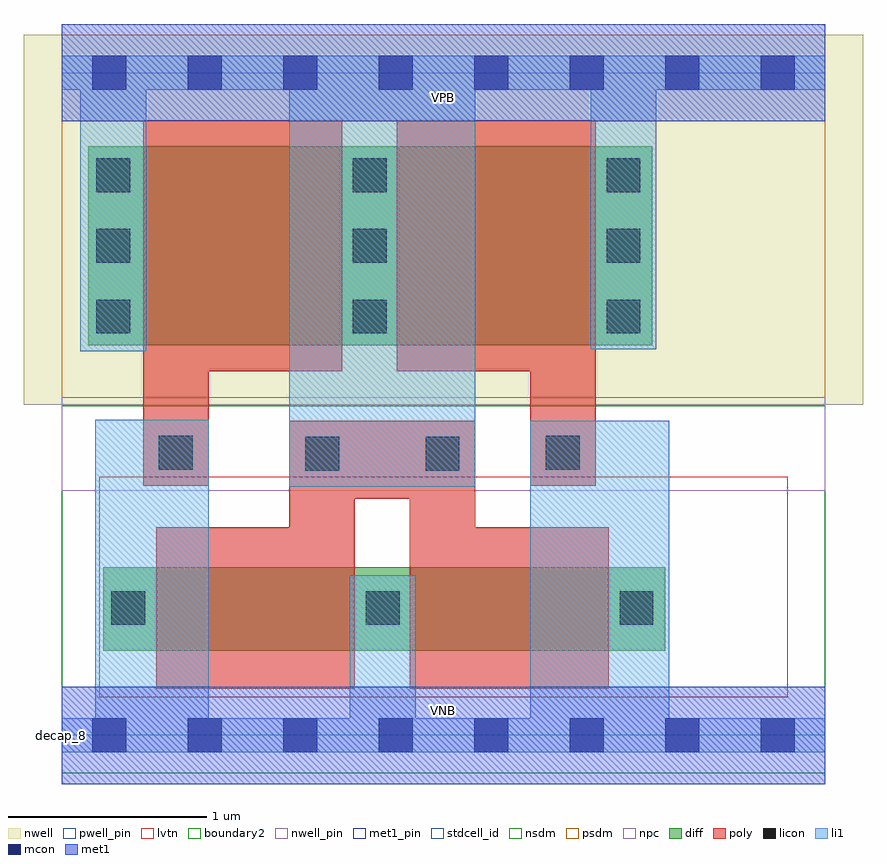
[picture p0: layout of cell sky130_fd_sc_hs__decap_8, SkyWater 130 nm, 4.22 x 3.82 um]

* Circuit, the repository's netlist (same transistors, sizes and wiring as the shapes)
* Copyright 2020 The SkyWater PDK Authors
*
* Licensed under the Apache License, Version 2.0 (the "License");
* you may not use this file except in compliance with the License.
* You may obtain a copy of the License at
*
*     https://www.apache.org/licenses/LICENSE-2.0
*
* Unless required by applicable law or agreed to in writing, software
* distributed under the License is distributed on an "AS IS" BASIS,
* WITHOUT WARRANTIES OR CONDITIONS OF ANY KIND, either express or implied.
* See the License for the specific language governing permissions and
* limitations under the License.
*
* SPDX-License-Identifier: Apache-2.0


.subckt sky130_fd_sc_hs__decap_8 VGND VNB VPB VPWR
X0 VPWR VGND VPWR VPB sky130_fd_pr__pfet_01v8 w=1 l=1
X1 VGND VPWR VGND VNB sky130_fd_pr__nfet_01v8_lvt w=420000u l=1
X2 VGND VPWR VGND VNB sky130_fd_pr__nfet_01v8_lvt w=420000u l=1
X3 VPWR VGND VPWR VPB sky130_fd_pr__pfet_01v8 w=1 l=1
.ends

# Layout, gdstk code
import gdstk
lib = gdstk.Library(unit=1e-6, precision=1e-09)
def R(c, l, rs):  # rectangles x0, y0, x1, y1
    for r in rs: c.add(gdstk.rectangle(r[:2], r[2:], *l))
def A(c, l, x, y, w, h, nx, ny, dx, dy):  # array of equal rectangles
    R(c, l, [(x+i*dx, y+j*dy, x+i*dx+w, y+j*dy+h) for i in range(nx) for j in range(ny)])
def P(c, l, *ps):  # polygons
    for p in ps: c.add(gdstk.Polygon(p, *l))
nwell_pin = (64, 16)
nwell = (64, 20)
diff = (65, 20)
poly = (66, 20)
licon = (66, 44)
li1 = (67, 20)
mcon = (67, 44)
met1_pin = (68, 16)
met1 = (68, 20)
stdcell_id = (81, 4)
nsdm = (93, 44)
psdm = (94, 20)
npc = (95, 20)
pwell_pin = (122, 16)
lvtn = (125, 44)
boundary2 = (236, 0)

sky130_fd_sc_hs__decap_8 = lib.new_cell('sky130_fd_sc_hs__decap_8')
R(sky130_fd_sc_hs__decap_8, nwell_pin, [(0,3.085,3.84,3.33)])
R(sky130_fd_sc_hs__decap_8, nwell, [(-0.19,1.66,4.03,3.52)])
R(sky130_fd_sc_hs__decap_8, diff, [(0.21,0.425,3.035,0.845), (0.135,1.96,2.97,2.96)])
P(sky130_fd_sc_hs__decap_8, poly, [(0.41,1.255),(0.41,3.09),(1.41,3.09),(1.41,1.83),(0.74,1.83),(0.74,1.255)],
  [(2.355,1.255),(2.355,1.83),(1.685,1.83),(1.685,3.09),(2.685,3.09),(2.685,1.255)],
  [(0.475,0.235),(0.475,1.045),(1.145,1.045),(1.145,1.58),(2.08,1.58),(2.08,1.045),(2.75,1.045),(2.75,0.235),(1.75,0.235),(1.75,1.19),(1.475,1.19),(1.475,0.235)])
A(sky130_fd_sc_hs__decap_8, licon, 0.175, 2.02, 0.17, 0.17, 1, 3, 0, 0.355)
A(sky130_fd_sc_hs__decap_8, licon, 1.465, 2.02, 0.17, 0.17, 1, 3, 0, 0.355)
A(sky130_fd_sc_hs__decap_8, licon, 2.74, 2.02, 0.17, 0.17, 1, 3, 0, 0.355)
R(sky130_fd_sc_hs__decap_8, licon, [(0.25,0.555,0.42,0.725), (1.53,0.555,1.7,0.725), (2.805,0.555,2.975,0.725), (1.225,1.33,1.395,1.5), (1.83,1.33,2,1.5), (0.49,1.335,0.66,1.505), (2.435,1.335,2.605,1.505)])
P(sky130_fd_sc_hs__decap_8, li1, [(0,-0.085),(0,0.085),(0.17,0.085),(0.17,1.585),(0.74,1.585),(0.74,0.085),(1.45,0.085),(1.45,0.805),(1.78,0.805),(1.78,0.085),(2.355,0.085),(2.355,1.58),(3.055,1.58),(3.055,0.085),(3.84,0.085),(3.84,-0.085)],
  [(1.145,1.25),(1.145,3.245),(0.425,3.245),(0.425,1.93),(0.095,1.93),(0.095,3.245),(0,3.245),(0,3.415),(3.84,3.415),(3.84,3.245),(2.99,3.245),(2.99,1.94),(2.66,1.94),(2.66,3.245),(2.08,3.245),(2.08,1.25)])
A(sky130_fd_sc_hs__decap_8, mcon, 0.155, -0.085, 0.17, 0.17, 8, 2, 0.48, 3.33)
R(sky130_fd_sc_hs__decap_8, met1_pin, [(0,-0.245,3.84,0.245), (0,3.085,3.84,3.575)])
R(sky130_fd_sc_hs__decap_8, met1, [(0,-0.245,3.84,0.245), (0,3.085,3.84,3.575)])
R(sky130_fd_sc_hs__decap_8, stdcell_id, [(0,0,3.84,3.33)])
R(sky130_fd_sc_hs__decap_8, nsdm, [(0,-0.19,3.84,1.655)])
R(sky130_fd_sc_hs__decap_8, psdm, [(0,1.655,3.84,3.52)])
R(sky130_fd_sc_hs__decap_8, npc, [(0,1.23,3.84,1.7)])
R(sky130_fd_sc_hs__decap_8, pwell_pin, [(0,0,3.84,0.245)])
R(sky130_fd_sc_hs__decap_8, lvtn, [(0.19,0.19,3.65,1.3)])
R(sky130_fd_sc_hs__decap_8, boundary2, [(0,0,3.84,3.33)])
sky130_fd_sc_hs__decap_8.add(gdstk.Label('decap_8', (0,0), layer=83, texttype=44))
sky130_fd_sc_hs__decap_8.add(gdstk.Label('VNB', (1.92,0.123), layer=64, texttype=59))
sky130_fd_sc_hs__decap_8.add(gdstk.Label('VPB', (1.92,3.208), layer=64, texttype=5))
sky130_fd_sc_hs__decap_8.add(gdstk.Label('VGND', (1.92,0.123), layer=68, texttype=5))
sky130_fd_sc_hs__decap_8.add(gdstk.Label('VPWR', (1.92,3.208), layer=68, texttype=5))

lib.write_gds('sky130_fd_sc_hs__decap_8.gds')
